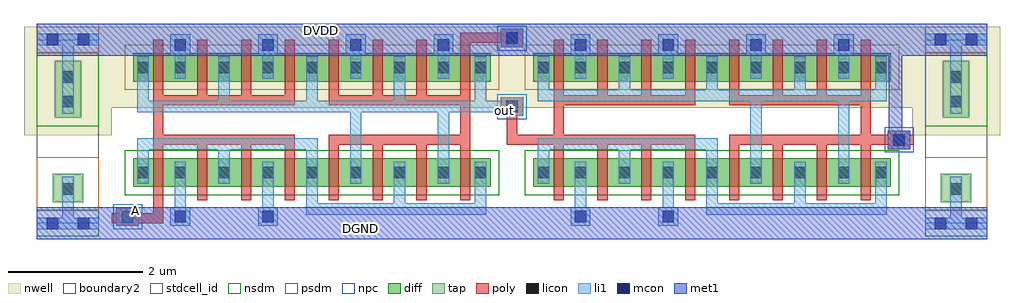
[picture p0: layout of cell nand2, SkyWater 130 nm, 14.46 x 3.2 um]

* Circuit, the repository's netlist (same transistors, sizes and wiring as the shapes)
** sch_path: /home/student/ee5311/tutorial_5/nand2.sch
.subckt nand2 DVDD out A DGND
*.PININFO DVDD:B DGND:B A:B out:B
XM1 DVDD A out DVDD sky130_fd_pr__pfet_01v8 L=0.15 W=1.68 nf=1
XM2 out DVDD DVDD DVDD sky130_fd_pr__pfet_01v8 L=0.15 W=1.68 nf=1
XM3 out DVDD net1 DGND sky130_fd_pr__nfet_01v8 L=0.15 W=1.68 nf=1
XM4 DGND A net1 DGND sky130_fd_pr__nfet_01v8 L=0.15 W=1.68 nf=1
XM5 DVDD out net2 DVDD sky130_fd_pr__pfet_01v8 L=0.15 W=1.68 nf=1
XM6 net2 DVDD DVDD DVDD sky130_fd_pr__pfet_01v8 L=0.15 W=1.68 nf=1
XM7 net2 DVDD net3 DGND sky130_fd_pr__nfet_01v8 L=0.15 W=1.68 nf=1
XM8 DGND out net3 DGND sky130_fd_pr__nfet_01v8 L=0.15 W=1.68 nf=1
.ends

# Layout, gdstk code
import gdstk
lib = gdstk.Library(unit=1e-6, precision=1e-09)
def R(c, l, rs):  # rectangles x0, y0, x1, y1
    for r in rs: c.add(gdstk.rectangle(r[:2], r[2:], *l))
def A(c, l, x, y, w, h, nx, ny, dx, dy):  # array of equal rectangles
    R(c, l, [(x+i*dx, y+j*dy, x+i*dx+w, y+j*dy+h) for i in range(nx) for j in range(ny)])
nwell = (64, 20)
diff = (65, 20)
tap = (65, 44)
poly = (66, 20)
licon = (66, 44)
li1 = (67, 20)
mcon = (67, 44)
met1 = (68, 20)
stdcell_id = (81, 4)
nsdm = (93, 44)
psdm = (94, 20)
npc = (95, 20)
boundary2 = (236, 0)

pfet = lib.new_cell('pfet')
R(pfet, nwell, [(-0.315,-0.39,5.615,0.81)])
R(pfet, diff, [(0,0,5.3,0.42)])
A(pfet, poly, 0.3, -0.2, 0.15, 0.82, 8, 1, 0.65, 0)
A(pfet, licon, 0.615, 0.125, 0.17, 0.17, 7, 1, 0.65, 0)
R(pfet, licon, [(0.065,0.125,0.235,0.295), (5.065,0.125,5.235,0.295)])
A(pfet, li1, 0.615, 0.045, 0.17, 0.33, 7, 1, 0.65, 0)
R(pfet, li1, [(0.065,0.045,0.235,0.375), (5.065,0.045,5.235,0.375)])
R(pfet, psdm, [(-0.125,-0.125,5.425,0.545)])

vias_gen_1 = lib.new_cell('vias_gen$1')
R(vias_gen_1, li1, [(0,0,0.29,0.28)])
R(vias_gen_1, mcon, [(0.06,0.055,0.23,0.225)])
R(vias_gen_1, met1, [(0,0,0.29,0.28)])

nfet = lib.new_cell('nfet')
R(nfet, diff, [(0,0,5.3,0.42)])
A(nfet, poly, 0.3, -0.2, 0.15, 0.82, 8, 1, 0.65, 0)
A(nfet, licon, 0.615, 0.125, 0.17, 0.17, 7, 1, 0.65, 0)
R(nfet, licon, [(0.065,0.125,0.235,0.295), (5.065,0.125,5.235,0.295)])
A(nfet, li1, 0.615, 0.045, 0.17, 0.33, 7, 1, 0.65, 0)
R(nfet, li1, [(0.065,0.045,0.235,0.375), (5.065,0.045,5.235,0.375)])
R(nfet, nsdm, [(-0.125,-0.125,5.425,0.545)])

vias_gen_3 = lib.new_cell('vias_gen$3')
R(vias_gen_3, poly, [(0,0,0.33,0.27)])
R(vias_gen_3, licon, [(0.08,0.05,0.25,0.22)])
R(vias_gen_3, li1, [(0,0,0.33,0.27)])
R(vias_gen_3, mcon, [(0.08,0.05,0.25,0.22)])
R(vias_gen_3, met1, [(0,0,0.33,0.27)])
R(vias_gen_3, npc, [(-0.05,-0.05,0.38,0.32)])

vias_gen = lib.new_cell('vias_gen')
R(vias_gen, li1, [(0,0,0.29,0.32)])
R(vias_gen, mcon, [(0.06,0.075,0.23,0.245)])
R(vias_gen, met1, [(0,0,0.29,0.32)])

tap_ = lib.new_cell('tap')
R(tap_, nwell, [(-0.19,1.305,1.11,2.91)])
R(tap_, tap, [(0.235,0.315,0.685,0.735), (0.265,1.565,0.655,2.405)])
R(tap_, licon, [(0.375,0.425,0.545,0.595), (0.375,1.72,0.545,1.89), (0.375,2.08,0.545,2.25)])
R(tap_, li1, [(0,-0.085,0.92,0.085), (0.375,0,0.545,0.69), (0.375,1.625,0.545,2.72), (0,2.635,0.92,2.805)])
R(tap_, mcon, [(0.145,-0.085,0.315,0.085), (0.605,-0.085,0.775,0.085), (0.145,2.635,0.315,2.805), (0.605,2.635,0.775,2.805)])
R(tap_, met1, [(0,-0.24,0.92,0.24), (0,2.48,0.92,2.96)])
R(tap_, stdcell_id, [(0,0,0.92,2.72)])
R(tap_, nsdm, [(0,-0.19,0.92,0.19), (0,1.44,0.92,2.53)])
R(tap_, psdm, [(0,0.19,0.92,0.975), (0,2.53,0.92,2.91)])
R(tap_, boundary2, [(0,0,0.92,2.72)])
tap_.add(gdstk.Label('tap', (0,0), layer=83, texttype=44))

vias_gen_2 = lib.new_cell('vias_gen$2')
R(vias_gen_2, poly, [(0,0,0.33,0.27)])
R(vias_gen_2, licon, [(0.08,0.05,0.25,0.22)])
R(vias_gen_2, li1, [(0,0,0.33,0.27)])
R(vias_gen_2, npc, [(-0.05,-0.05,0.38,0.32)])

nand2 = lib.new_cell('nand2')
nand2.add(gdstk.FlexPath([(-2.285,1.835),(-2.285,1.495)], 0.17, ends="flush", simple_path=True, layer=67, datatype=20))  # li1
nand2.add(gdstk.FlexPath([(-2.2,1.58),(2.8,1.58)], 0.17, ends="flush", simple_path=True, layer=67, datatype=20))  # li1
nand2.add(gdstk.FlexPath([(2.715,1.835),(2.715,1.665)], 0.17, ends="flush", simple_path=True, layer=67, datatype=20))  # li1
nand2.add(gdstk.FlexPath([(1.515,1.835),(1.515,1.665)], 0.17, ends="flush", simple_path=True, layer=67, datatype=20))  # li1
nand2.add(gdstk.FlexPath([(0.215,1.835),(0.215,1.665)], 0.17, ends="flush", simple_path=True, layer=67, datatype=20))  # li1
nand2.add(gdstk.FlexPath([(-1.085,1.835),(-1.085,1.665)], 0.17, ends="flush", simple_path=True, layer=67, datatype=20))  # li1
nand2.add(gdstk.FlexPath([(0.865,0.605),(0.865,1.495)], 0.17, ends="flush", simple_path=True, layer=67, datatype=20))  # li1
nand2.add(gdstk.FlexPath([(2.165,0.605),(2.165,1.495)], 0.17, ends="flush", simple_path=True, layer=67, datatype=20))  # li1
nand2.add(gdstk.FlexPath([(-3.13,1.42),(-2.675,1.42)], 0.17, ends="flush", simple_path=True, layer=67, datatype=20))  # li1
nand2.add(gdstk.FlexPath([(-8.215,0.45),(-8.215,0.95)], 0.17, ends="flush", simple_path=True, layer=67, datatype=20))  # li1
nand2.add(gdstk.FlexPath([(-8.13,0.865),(-5.63,0.865)], 0.17, ends="flush", simple_path=True, layer=67, datatype=20))  # li1
nand2.add(gdstk.FlexPath([(-5.715,0.45),(-5.715,0.78)], 0.17, ends="flush", simple_path=True, layer=67, datatype=20))  # li1
nand2.add(gdstk.FlexPath([(-7.015,0.45),(-7.015,0.78)], 0.17, ends="flush", simple_path=True, layer=67, datatype=20))  # li1
nand2.add(gdstk.FlexPath([(-7.015,1.835),(-7.015,1.505)], 0.17, ends="flush", simple_path=True, layer=67, datatype=20))  # li1
nand2.add(gdstk.FlexPath([(-5.715,1.835),(-5.715,1.505)], 0.17, ends="flush", simple_path=True, layer=67, datatype=20))  # li1
nand2.add(gdstk.FlexPath([(-4.415,1.835),(-4.415,1.505)], 0.17, ends="flush", simple_path=True, layer=67, datatype=20))  # li1
nand2.add(gdstk.FlexPath([(-3.215,1.835),(-3.215,1.505)], 0.17, ends="flush", simple_path=True, layer=67, datatype=20))  # li1
nand2.add(gdstk.FlexPath([(-8.13,1.42),(-3.13,1.42)], 0.17, ends="flush", simple_path=True, layer=67, datatype=20))  # li1
nand2.add(gdstk.FlexPath([(-8.215,1.835),(-8.215,1.335)], 0.17, ends="flush", simple_path=True, layer=67, datatype=20))  # li1
nand2.add(gdstk.FlexPath([(-3.215,-0.185),(-3.215,0.275)], 0.17, ends="flush", simple_path=True, layer=67, datatype=20))  # li1
nand2.add(gdstk.FlexPath([(-4.415,-0.185),(-4.415,0.275)], 0.17, ends="flush", simple_path=True, layer=67, datatype=20))  # li1
nand2.add(gdstk.FlexPath([(-5.715,-0.185),(-5.715,0.275)], 0.17, ends="flush", simple_path=True, layer=67, datatype=20))  # li1
nand2.add(gdstk.FlexPath([(-3.3,-0.1),(-4.33,-0.1)], 0.17, ends="flush", simple_path=True, layer=67, datatype=20))  # li1
nand2.add(gdstk.FlexPath([(-4.5,-0.1),(-5.63,-0.1)], 0.17, ends="flush", simple_path=True, layer=67, datatype=20))  # li1
nand2.add(gdstk.FlexPath([(-5.065,0.605),(-5.065,1.335)], 0.17, ends="flush", simple_path=True, layer=67, datatype=20))  # li1
nand2.add(gdstk.FlexPath([(-3.765,0.605),(-3.765,1.335)], 0.17, ends="flush", simple_path=True, layer=67, datatype=20))  # li1
nand2.add(gdstk.FlexPath([(-7.665,0.275),(-7.665,-0.35)], 0.17, ends="flush", simple_path=True, layer=67, datatype=20))  # li1
nand2.add(gdstk.FlexPath([(-6.365,0.275),(-6.365,-0.35)], 0.17, ends="flush", simple_path=True, layer=67, datatype=20))  # li1
nand2.add(gdstk.FlexPath([(-3.765,2.165),(-3.765,2.49)], 0.17, ends="flush", simple_path=True, layer=67, datatype=20))  # li1
nand2.add(gdstk.FlexPath([(-5.065,2.165),(-5.065,2.49)], 0.17, ends="flush", simple_path=True, layer=67, datatype=20))  # li1
nand2.add(gdstk.FlexPath([(-6.365,2.165),(-6.365,2.49)], 0.17, ends="flush", simple_path=True, layer=67, datatype=20))  # li1
nand2.add(gdstk.FlexPath([(-7.665,2.165),(-7.665,2.49)], 0.17, ends="flush", simple_path=True, layer=67, datatype=20))  # li1
nand2.add(gdstk.FlexPath([(-1.735,2.165),(-1.735,2.49)], 0.17, ends="flush", simple_path=True, layer=67, datatype=20))  # li1
nand2.add(gdstk.FlexPath([(-0.435,2.165),(-0.435,2.49)], 0.17, ends="flush", simple_path=True, layer=67, datatype=20))  # li1
nand2.add(gdstk.FlexPath([(0.865,2.165),(0.865,2.49)], 0.17, ends="flush", simple_path=True, layer=67, datatype=20))  # li1
nand2.add(gdstk.FlexPath([(2.165,2.165),(2.165,2.49)], 0.17, ends="flush", simple_path=True, layer=67, datatype=20))  # li1
nand2.add(gdstk.FlexPath([(-0.435,0.275),(-0.435,-0.35)], 0.17, ends="flush", simple_path=True, layer=67, datatype=20))  # li1
nand2.add(gdstk.FlexPath([(-1.735,0.275),(-1.735,-0.35)], 0.17, ends="flush", simple_path=True, layer=67, datatype=20))  # li1
nand2.add(gdstk.FlexPath([(1.43,-0.1),(0.3,-0.1)], 0.17, ends="flush", simple_path=True, layer=67, datatype=20))  # li1
nand2.add(gdstk.FlexPath([(2.63,-0.1),(1.6,-0.1)], 0.17, ends="flush", simple_path=True, layer=67, datatype=20))  # li1
nand2.add(gdstk.FlexPath([(0.215,-0.185),(0.215,0.275)], 0.17, ends="flush", simple_path=True, layer=67, datatype=20))  # li1
nand2.add(gdstk.FlexPath([(1.515,-0.185),(1.515,0.275)], 0.17, ends="flush", simple_path=True, layer=67, datatype=20))  # li1
nand2.add(gdstk.FlexPath([(2.715,-0.185),(2.715,0.275)], 0.17, ends="flush", simple_path=True, layer=67, datatype=20))  # li1
nand2.add(gdstk.FlexPath([(-1.085,0.45),(-1.085,0.78)], 0.17, ends="flush", simple_path=True, layer=67, datatype=20))  # li1
nand2.add(gdstk.FlexPath([(0.215,0.45),(0.215,0.78)], 0.17, ends="flush", simple_path=True, layer=67, datatype=20))  # li1
nand2.add(gdstk.FlexPath([(-2.2,0.865),(0.3,0.865)], 0.17, ends="flush", simple_path=True, layer=67, datatype=20))  # li1
nand2.add(gdstk.FlexPath([(-2.285,0.45),(-2.285,0.95)], 0.17, ends="flush", simple_path=True, layer=67, datatype=20))  # li1
nand2.add(gdstk.FlexPath([(3.65,2.41),(-2.75,2.41)], 0.48, ends="flush", simple_path=True, layer=68, datatype=20))  # met1
nand2.add(gdstk.FlexPath([(2.935,2.17),(2.935,1.06)], 0.2, ends="flush", simple_path=True, layer=68, datatype=20))  # met1
nand2.add(gdstk.FlexPath([(-2.75,2.41),(-8.87,2.41)], 0.48, ends="flush", simple_path=True, layer=68, datatype=20))  # met1
nand2.add(gdstk.FlexPath([(-2.75,-0.31),(-8.87,-0.31)], 0.48, ends="flush", simple_path=True, layer=68, datatype=20))  # met1
nand2.add(gdstk.FlexPath([(3.37,-0.31),(-2.75,-0.31)], 0.48, ends="flush", simple_path=True, layer=68, datatype=20))  # met1
nand2.add(gdstk.FlexPath([(2.565,0.925),(3.2,0.925)], 0.15, ends="flush", simple_path=True, layer=66, datatype=20))  # poly
nand2.add(gdstk.FlexPath([(-2.135,0.925),(-2.75,0.925),(-2.75,1.505)], 0.15, ends="flush", simple_path=True, layer=66, datatype=20))  # poly
nand2.add(gdstk.FlexPath([(-3.44,2.41),(-3.44,2.44),(-2.585,2.44)], 0.15, ends="flush", simple_path=True, layer=66, datatype=20))  # poly
nand2.add(gdstk.FlexPath([(-4.165,0.925),(-3.515,0.925)], 0.15, ends="flush", simple_path=True, layer=66, datatype=20))  # poly
nand2.add(gdstk.FlexPath([(-4.815,0.925),(-4.165,0.925)], 0.15, ends="flush", simple_path=True, layer=66, datatype=20))  # poly
nand2.add(gdstk.FlexPath([(-5.465,0.925),(-4.815,0.925)], 0.15, ends="flush", simple_path=True, layer=66, datatype=20))  # poly
nand2.add(gdstk.FlexPath([(-7.915,1.515),(-7.265,1.515)], 0.15, ends="flush", simple_path=True, layer=66, datatype=20))  # poly
nand2.add(gdstk.FlexPath([(-7.265,1.515),(-6.615,1.515)], 0.15, ends="flush", simple_path=True, layer=66, datatype=20))  # poly
nand2.add(gdstk.FlexPath([(-6.615,1.515),(-5.965,1.515)], 0.15, ends="flush", simple_path=True, layer=66, datatype=20))  # poly
nand2.add(gdstk.FlexPath([(-6.615,0.925),(-5.965,0.925)], 0.15, ends="flush", simple_path=True, layer=66, datatype=20))  # poly
nand2.add(gdstk.FlexPath([(-7.265,0.925),(-6.615,0.925)], 0.15, ends="flush", simple_path=True, layer=66, datatype=20))  # poly
nand2.add(gdstk.FlexPath([(-7.915,0.925),(-7.265,0.925)], 0.15, ends="flush", simple_path=True, layer=66, datatype=20))  # poly
nand2.add(gdstk.FlexPath([(-8.21,-0.235),(-8.68,-0.235)], 0.15, ends="flush", simple_path=True, layer=66, datatype=20))  # poly
nand2.add(gdstk.FlexPath([(-7.99,0.03),(-7.99,-0.31)], 0.15, ends="flush", simple_path=True, layer=66, datatype=20))  # poly
nand2.add(gdstk.FlexPath([(-8.21,-0.235),(-8.065,-0.235)], 0.15, ends="flush", simple_path=True, layer=66, datatype=20))  # poly
nand2.add(gdstk.FlexPath([(-4.165,1.515),(-3.515,1.515)], 0.15, ends="flush", simple_path=True, layer=66, datatype=20))  # poly
nand2.add(gdstk.FlexPath([(-4.815,1.515),(-4.165,1.515)], 0.15, ends="flush", simple_path=True, layer=66, datatype=20))  # poly
nand2.add(gdstk.FlexPath([(-5.465,1.515),(-4.815,1.515)], 0.15, ends="flush", simple_path=True, layer=66, datatype=20))  # poly
nand2.add(gdstk.FlexPath([(-7.99,1.59),(-7.99,0.85),(-7.99,0.85),(-7.99,0.85)], 0.15, ends="flush", simple_path=True, layer=66, datatype=20))  # poly
nand2.add(gdstk.FlexPath([(-3.44,1.59),(-3.44,0.85)], 0.15, ends="flush", simple_path=True, layer=66, datatype=20))  # poly
nand2.add(gdstk.FlexPath([(2.49,1.59),(2.49,0.85)], 0.15, ends="flush", simple_path=True, layer=66, datatype=20))  # poly
nand2.add(gdstk.FlexPath([(-2.06,1.59),(-2.06,0.85),(-2.06,0.85),(-2.06,0.85)], 0.15, ends="flush", simple_path=True, layer=66, datatype=20))  # poly
nand2.add(gdstk.FlexPath([(0.465,1.515),(1.115,1.515)], 0.15, ends="flush", simple_path=True, layer=66, datatype=20))  # poly
nand2.add(gdstk.FlexPath([(1.115,1.515),(1.765,1.515)], 0.15, ends="flush", simple_path=True, layer=66, datatype=20))  # poly
nand2.add(gdstk.FlexPath([(1.765,1.515),(2.415,1.515)], 0.15, ends="flush", simple_path=True, layer=66, datatype=20))  # poly
nand2.add(gdstk.FlexPath([(-1.985,0.925),(-1.335,0.925)], 0.15, ends="flush", simple_path=True, layer=66, datatype=20))  # poly
nand2.add(gdstk.FlexPath([(-1.335,0.925),(-0.685,0.925)], 0.15, ends="flush", simple_path=True, layer=66, datatype=20))  # poly
nand2.add(gdstk.FlexPath([(-0.685,0.925),(-0.035,0.925)], 0.15, ends="flush", simple_path=True, layer=66, datatype=20))  # poly
nand2.add(gdstk.FlexPath([(-0.685,1.515),(-0.035,1.515)], 0.15, ends="flush", simple_path=True, layer=66, datatype=20))  # poly
nand2.add(gdstk.FlexPath([(-1.335,1.515),(-0.685,1.515)], 0.15, ends="flush", simple_path=True, layer=66, datatype=20))  # poly
nand2.add(gdstk.FlexPath([(-1.985,1.515),(-1.335,1.515)], 0.15, ends="flush", simple_path=True, layer=66, datatype=20))  # poly
nand2.add(gdstk.FlexPath([(0.465,0.925),(1.115,0.925)], 0.15, ends="flush", simple_path=True, layer=66, datatype=20))  # poly
nand2.add(gdstk.FlexPath([(1.115,0.925),(1.765,0.925)], 0.15, ends="flush", simple_path=True, layer=66, datatype=20))  # poly
nand2.add(gdstk.FlexPath([(1.765,0.925),(2.415,0.925)], 0.15, ends="flush", simple_path=True, layer=66, datatype=20))  # poly
nand2.add(gdstk.Reference(pfet, (-2.435,1.79)))
nand2.add(gdstk.Reference(vias_gen_1, (-0.58,-0.35)))
nand2.add(gdstk.Reference(vias_gen_1, (-1.88,-0.35)))
nand2.add(gdstk.Reference(nfet, (-2.435,0.23)))
nand2.add(gdstk.Reference(vias_gen_3, (-2.915,2.3)))
nand2.add(gdstk.Reference(vias_gen, (-1.88,2.17)))
nand2.add(gdstk.Reference(nfet, (-8.365,0.23)))
nand2.add(gdstk.Reference(vias_gen_1, (-7.81,-0.35)))
nand2.add(gdstk.Reference(vias_gen_1, (-6.51,-0.35)))
nand2.add(gdstk.Reference(pfet, (-8.365,1.79)))
nand2.add(gdstk.Reference(vias_gen, (-7.81,2.17)))
nand2.add(gdstk.Reference(vias_gen, (-6.51,2.17)))
nand2.add(gdstk.Reference(vias_gen, (-5.21,2.17)))
nand2.add(gdstk.Reference(vias_gen, (-3.91,2.17)))
nand2.add(gdstk.Reference(vias_gen, (-7.81,2.17)))
nand2.add(gdstk.Reference(vias_gen, (-6.51,2.17)))
nand2.add(gdstk.Reference(vias_gen, (-5.21,2.17)))
nand2.add(gdstk.Reference(vias_gen, (-3.91,2.17)))
nand2.add(gdstk.Reference(tap_, (3.37,-0.31)))
nand2.add(gdstk.Reference(vias_gen_2, (-2.915,1.285)))
nand2.add(gdstk.Reference(tap_, (-9.79,-0.31)))
nand2.add(gdstk.Reference(vias_gen, (0.72,2.17)))
nand2.add(gdstk.Reference(vias_gen, (2.02,2.17)))
nand2.add(gdstk.Reference(vias_gen, (-0.58,2.17)))
nand2.add(gdstk.Reference(vias_gen_2, (-8.61,-0.35)))
nand2.add(gdstk.Reference(vias_gen_3, (2.82,0.79)))
nand2.add(gdstk.Label('DGND', (-4.99,-0.39), layer=68, texttype=5))
nand2.add(gdstk.Label('DVDD', (-5.57,2.545), layer=68, texttype=5))
nand2.add(gdstk.Label('out', (-2.855,1.365), layer=67, texttype=5))
nand2.add(gdstk.Label('A', (-8.33,-0.12), layer=67, texttype=5))

lib.write_gds('nand2.gds')
